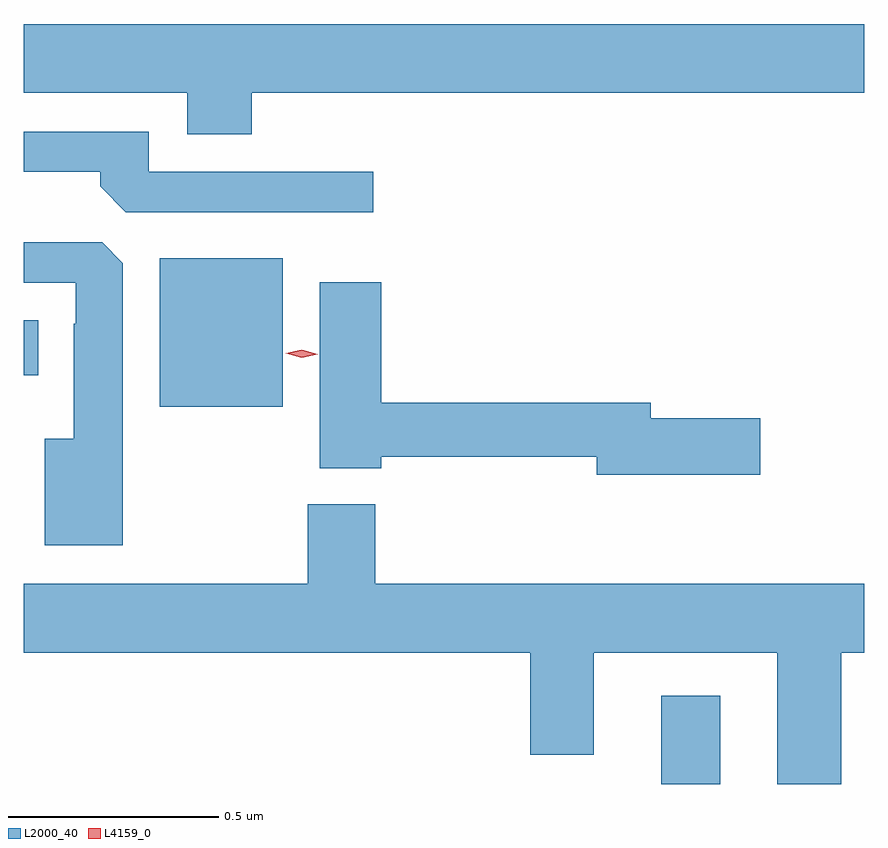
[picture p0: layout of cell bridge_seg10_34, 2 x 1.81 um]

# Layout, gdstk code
import gdstk
lib = gdstk.Library(unit=1e-6, precision=1e-09)
def R(c, l, rs):  # rectangles x0, y0, x1, y1
    for r in rs: c.add(gdstk.rectangle(r[:2], r[2:], *l))
def P(c, l, *ps):  # polygons
    for p in ps: c.add(gdstk.Polygon(p, *l))
L2000_40 = (2000, 40)
L4159_0 = (4159, 0)

bridge_seg10_34 = lib.new_cell('bridge_seg10_34')
R(bridge_seg10_34, L2000_40, [(942.053,1300.003,942.193,1300.213), (940.859,1300.901,941.152,1301.254), (940.536,1300.976,940.57,1301.107)])
P(bridge_seg10_34, L2000_40, [(941.078,1301.648),(942.536,1301.648),(942.536,1301.812),(940.536,1301.812),(940.536,1301.648),(940.925,1301.648),(940.925,1301.549),(941.078,1301.549)],
  [(941.368,1301.46),(940.833,1301.46),(940.833,1301.556),(940.536,1301.556),(940.536,1301.46),(940.718,1301.46),(940.718,1301.426),(940.779,1301.364),(941.368,1301.364)],
  [(940.771,1301.243),(940.722,1301.292),(940.536,1301.292),(940.536,1301.196),(940.659,1301.196),(940.659,1301.099),(940.655,1301.099),(940.655,1300.825),(940.586,1300.825),(940.586,1300.571),(940.771,1300.571)],
  [(942.289,1300.874),(942.028,1300.874),(942.028,1300.91),(941.387,1300.91),(941.387,1301.197),(941.24,1301.197),(941.24,1300.754),(941.387,1300.754),(941.387,1300.782),(941.9,1300.782),(941.9,1300.739),(942.289,1300.739)],
  [(942.482,1300.316),(942.536,1300.316),(942.536,1300.48),(941.372,1300.48),(941.372,1300.669),(941.212,1300.669),(941.212,1300.48),(940.536,1300.48),(940.536,1300.316),(941.741,1300.316),(941.741,1300.073),(941.893,1300.073),(941.893,1300.316),(942.329,1300.316),(942.329,1300.003),(942.482,1300.003)])
P(bridge_seg10_34, L4159_0, [(941.197,1301.017),(941.159,1301.028),(941.158,1301.028),(941.159,1301.028),(941.198,1301.037),(941.236,1301.026),(941.236,1301.026),(941.236,1301.026)])

lib.write_gds('bridge_seg10_34.gds')
